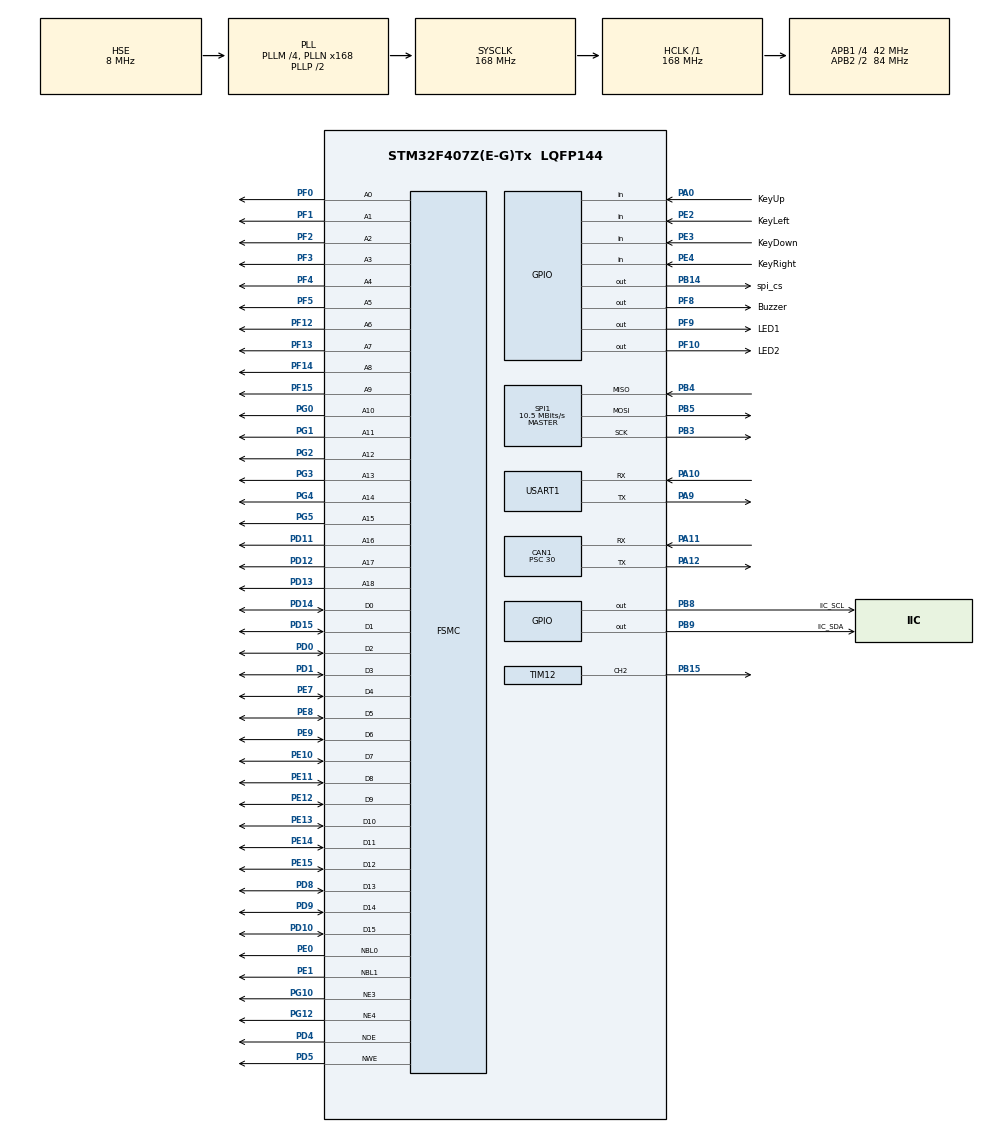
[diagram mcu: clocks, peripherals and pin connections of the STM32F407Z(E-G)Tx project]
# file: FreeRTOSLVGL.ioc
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CAN1.BS1=CAN_BS1_9TQ
CAN1.BS2=CAN_BS2_4TQ
CAN1.CalculateBaudRate=100000
CAN1.CalculateTimeBit=10000
CAN1.CalculateTimeQuantum=714.2857142857143
CAN1.Prescaler=30
CAN1.SJW=CAN_SJW_1TQ
Dma.MEMTOMEM.0.Direction=DMA_MEMORY_TO_MEMORY
Dma.MEMTOMEM.0.FIFOMode=DMA_FIFOMODE_ENABLE
Dma.MEMTOMEM.0.FIFOThreshold=DMA_FIFO_THRESHOLD_FULL
Dma.MEMTOMEM.0.Instance=DMA2_Stream0
Dma.MEMTOMEM.0.MemBurst=DMA_MBURST_INC8
Dma.MEMTOMEM.0.MemDataAlignment=DMA_MDATAALIGN_HALFWORD
Dma.MEMTOMEM.0.MemInc=DMA_MINC_DISABLE
Dma.MEMTOMEM.0.Mode=DMA_NORMAL
Dma.MEMTOMEM.0.PeriphBurst=DMA_PBURST_INC8
Dma.MEMTOMEM.0.PeriphDataAlignment=DMA_PDATAALIGN_HALFWORD
Dma.MEMTOMEM.0.PeriphInc=DMA_PINC_ENABLE
Dma.MEMTOMEM.0.Priority=DMA_PRIORITY_MEDIUM
Dma.Request0=MEMTOMEM
FREERTOS.Tasks01=defaultTask,47,512,StartDefaultTask,Default,NULL,Dynamic,NULL,NULL
FREERTOS.Timers01=IdleTimer,IdleTimerCallback,osTimerPeriodic,Default,NULL,Dynamic,NULL
FREERTOS.configTICK_RATE_HZ=1000
FREERTOS.configUSE_IDLE_HOOK=0
FREERTOS.configUSE_STATS_FORMATTING_FUNCTIONS=1
FREERTOS.configUSE_TICKLESS_IDLE=1
FREERTOS.configUSE_TICK_HOOK=1
FSMC.AccessMode4=FSMC_ACCESS_MODE_A
FSMC.AddressSetupTime3=2
FSMC.AddressSetupTime4=15
FSMC.BusTurnAroundDuration3=0
FSMC.BusTurnAroundDuration4=0
FSMC.DataSetupTime3=8
FSMC.DataSetupTime4=60
FSMC.ExtendedAccessMode4=FSMC_ACCESS_MODE_A
FSMC.ExtendedAddressSetupTime4=9
FSMC.ExtendedBusTurnAroundDuration4=0
FSMC.ExtendedDataSetupTime4=9
FSMC.ExtendedMode4=FSMC_EXTENDED_MODE_ENABLE
FSMC.NSBank4=FSMC_NORSRAM_BANK4
FSMC.WriteOperation3=FSMC_WRITE_OPERATION_ENABLE
FSMC.WriteOperation4=FSMC_WRITE_OPERATION_ENABLE
Mcu.Family=STM32F4
Mcu.Name=STM32F407Z(E-G)Tx
Mcu.Package=LQFP144
NVIC.CAN1_RX0_IRQn=true\:5\:0\:false\:false\:true\:true\:true\:true\:true
NVIC.CAN1_RX1_IRQn=true\:5\:0\:false\:false\:true\:true\:true\:true\:true
NVIC.DMA2_Stream0_IRQn=true\:0\:0\:true\:false\:true\:false\:true\:true\:true
NVIC.PriorityGroup=NVIC_PRIORITYGROUP_4
NVIC.SPI1_IRQn=true\:5\:0\:false\:false\:true\:true\:true\:true\:true
NVIC.TIM6_DAC_IRQn=true\:0\:0\:true\:false\:true\:false\:false\:true\:true
NVIC.TIM7_IRQn=true\:5\:0\:false\:false\:true\:true\:true\:true\:true
NVIC.TimeBase=TIM6_DAC_IRQn
NVIC.TimeBaseIP=TIM6
NVIC.USART1_IRQn=true\:5\:0\:true\:false\:true\:true\:true\:true\:true
PA0-WKUP.GPIO_Label=KeyUp
PA0-WKUP.GPIO_PuPd=GPIO_PULLDOWN
PA0-WKUP.Signal=GPIO_Input
PA10.Mode=Asynchronous
PA10.Signal=USART1_RX
PA11.Mode=CAN_Activate
PA11.Signal=CAN1_RX
PA12.Mode=CAN_Activate
PA12.Signal=CAN1_TX
PA13.Mode=Serial_Wire
PA13.Signal=SYS_JTMS-SWDIO
PA14.Mode=Serial_Wire
PA14.Signal=SYS_JTCK-SWCLK
PA9.Mode=Asynchronous
PA9.Signal=USART1_TX
PB14.GPIO_Label=spi_cs
PB14.Signal=GPIO_Output
PB15.Signal=S_TIM12_CH2
PB3.Mode=Full_Duplex_Master
PB3.Signal=SPI1_SCK
PB4.Mode=Full_Duplex_Master
PB4.Signal=SPI1_MISO
PB5.Mode=Full_Duplex_Master
PB5.Signal=SPI1_MOSI
PB8.GPIO_Label=IIC_SCL
PB8.GPIO_ModeDefaultOutputPP=GPIO_MODE_OUTPUT_PP
PB8.GPIO_PuPd=GPIO_PULLUP
PB8.GPIO_Speed=GPIO_SPEED_FREQ_HIGH
PB8.Signal=GPIO_Output
PB9.GPIO_Label=IIC_SDA
PB9.GPIO_ModeDefaultOutputPP=GPIO_MODE_OUTPUT_OD
PB9.GPIO_PuPd=GPIO_PULLUP
PB9.GPIO_Speed=GPIO_SPEED_FREQ_HIGH
PB9.Signal=GPIO_Output
PD0.Signal=FSMC_D2_DA2
PD1.Signal=FSMC_D3_DA3
PD10.Signal=FSMC_D15_DA15
PD11.Signal=FSMC_A16_CLE
PD12.Signal=FSMC_A17_ALE
PD13.Signal=FSMC_A18
PD14.Signal=FSMC_D0_DA0
PD15.Signal=FSMC_D1_DA1
PD4.Signal=FSMC_NOE
PD5.Signal=FSMC_NWE
PD8.Signal=FSMC_D13_DA13
PD9.Signal=FSMC_D14_DA14
PE0.Signal=FSMC_NBL0
PE1.Signal=FSMC_NBL1
PE10.Signal=FSMC_D7_DA7
PE11.Signal=FSMC_D8_DA8
PE12.Signal=FSMC_D9_DA9
PE13.Signal=FSMC_D10_DA10
PE14.Signal=FSMC_D11_DA11
PE15.Signal=FSMC_D12_DA12
PE2.GPIO_Label=KeyLeft
PE2.GPIO_PuPd=GPIO_PULLUP
PE2.Signal=GPIO_Input
PE3.GPIO_Label=KeyDown
PE3.GPIO_PuPd=GPIO_PULLUP
PE3.Signal=GPIO_Input
PE4.GPIO_Label=KeyRight
PE4.GPIO_PuPd=GPIO_PULLUP
PE4.Signal=GPIO_Input
PE7.Signal=FSMC_D4_DA4
PE8.Signal=FSMC_D5_DA5
PE9.Signal=FSMC_D6_DA6
PF0.Signal=FSMC_A0
PF1.Signal=FSMC_A1
PF10.GPIO_Label=LED2
PF10.GPIO_PuPd=GPIO_PULLDOWN
PF10.PinState=GPIO_PIN_SET
PF10.Signal=GPIO_Output
PF12.Signal=FSMC_A6
PF13.Signal=FSMC_A7
PF14.Signal=FSMC_A8
PF15.Signal=FSMC_A9
PF2.Signal=FSMC_A2
PF3.Signal=FSMC_A3
PF4.Signal=FSMC_A4
PF5.Signal=FSMC_A5
PF8.GPIO_Label=Buzzer
PF8.GPIO_ModeDefaultOutputPP=GPIO_MODE_OUTPUT_PP
PF8.GPIO_PuPd=GPIO_PULLUP
PF8.GPIO_Speed=GPIO_SPEED_FREQ_HIGH
PF8.Signal=GPIO_Output
PF9.GPIO_Label=LED1
PF9.GPIO_PuPd=GPIO_PULLDOWN
PF9.PinState=GPIO_PIN_SET
PF9.Signal=GPIO_Output
PG0.Signal=FSMC_A10
PG1.Signal=FSMC_A11
PG10.Mode=NorPsramChipSelect3_3
PG10.Signal=FSMC_NE3
PG12.Mode=NorPsramChipSelect4_4
PG12.Signal=FSMC_NE4
PG2.Signal=FSMC_A12
PG3.Signal=FSMC_A13
PG4.Signal=FSMC_A14
PG5.Signal=FSMC_A15
PH0-OSC_IN.Mode=HSE-External-Oscillator
PH0-OSC_IN.Signal=RCC_OSC_IN
PH1-OSC_OUT.Mode=HSE-External-Oscillator
PH1-OSC_OUT.Signal=RCC_OSC_OUT
ProjectManager.HeapSize=0x400
ProjectManager.StackSize=0x800
ProjectManager.TargetToolchain=MDK-ARM V5.32
RCC.48MHZClocksFreq_Value=84000000
RCC.AHBFreq_Value=168000000
RCC.APB1CLKDivider=RCC_HCLK_DIV4
RCC.APB1Freq_Value=42000000
RCC.APB1TimFreq_Value=84000000
RCC.APB2CLKDivider=RCC_HCLK_DIV2
RCC.APB2Freq_Value=84000000
RCC.APB2TimFreq_Value=168000000
RCC.CortexFreq_Value=168000000
RCC.FLatency=FLASH_LATENCY_5
RCC.HCLKFreq_Value=168000000
RCC.HSE_VALUE=8000000
RCC.HSI_VALUE=16000000
RCC.LSE_VALUE=32768
RCC.PLLM=4
RCC.PLLN=168
RCC.PLLSourceVirtual=RCC_PLLSOURCE_HSE
RCC.SYSCLKFreq_VALUE=168000000
RCC.SYSCLKSource=RCC_SYSCLKSOURCE_PLLCLK
RCC.VCOOutputFreq_Value=336000000
SH.FSMC_A0.0=FSMC_A0,19b-a3
SH.FSMC_A1.0=FSMC_A1,19b-a3
SH.FSMC_A10.0=FSMC_A10,19b-a3
SH.FSMC_A11.0=FSMC_A11,19b-a3
SH.FSMC_A12.0=FSMC_A12,19b-a3
SH.FSMC_A13.0=FSMC_A13,19b-a3
SH.FSMC_A14.0=FSMC_A14,19b-a3
SH.FSMC_A15.0=FSMC_A15,19b-a3
SH.FSMC_A16_CLE.0=FSMC_A16,19b-a3
SH.FSMC_A17_ALE.0=FSMC_A17,19b-a3
SH.FSMC_A18.0=FSMC_A18,19b-a3
SH.FSMC_A2.0=FSMC_A2,19b-a3
SH.FSMC_A3.0=FSMC_A3,19b-a3
SH.FSMC_A4.0=FSMC_A4,19b-a3
SH.FSMC_A5.0=FSMC_A5,19b-a3
SH.FSMC_A6.0=FSMC_A6,A6_4
SH.FSMC_A6.1=FSMC_A6,19b-a3
SH.FSMC_A7.0=FSMC_A7,19b-a3
SH.FSMC_A8.0=FSMC_A8,19b-a3
SH.FSMC_A9.0=FSMC_A9,19b-a3
SH.FSMC_D0_DA0.0=FSMC_D0,16b-d4
SH.FSMC_D0_DA0.1=FSMC_D0,16b-d3
SH.FSMC_D10_DA10.0=FSMC_D10,16b-d4
SH.FSMC_D10_DA10.1=FSMC_D10,16b-d3
SH.FSMC_D11_DA11.0=FSMC_D11,16b-d4
SH.FSMC_D11_DA11.1=FSMC_D11,16b-d3
SH.FSMC_D12_DA12.0=FSMC_D12,16b-d4
SH.FSMC_D12_DA12.1=FSMC_D12,16b-d3
SH.FSMC_D13_DA13.0=FSMC_D13,16b-d4
SH.FSMC_D13_DA13.1=FSMC_D13,16b-d3
SH.FSMC_D14_DA14.0=FSMC_D14,16b-d4
SH.FSMC_D14_DA14.1=FSMC_D14,16b-d3
SH.FSMC_D15_DA15.0=FSMC_D15,16b-d4
SH.FSMC_D15_DA15.1=FSMC_D15,16b-d3
SH.FSMC_D1_DA1.0=FSMC_D1,16b-d4
SH.FSMC_D1_DA1.1=FSMC_D1,16b-d3
SH.FSMC_D2_DA2.0=FSMC_D2,16b-d4
SH.FSMC_D2_DA2.1=FSMC_D2,16b-d3
SH.FSMC_D3_DA3.0=FSMC_D3,16b-d4
SH.FSMC_D3_DA3.1=FSMC_D3,16b-d3
SH.FSMC_D4_DA4.0=FSMC_D4,16b-d4
SH.FSMC_D4_DA4.1=FSMC_D4,16b-d3
SH.FSMC_D5_DA5.0=FSMC_D5,16b-d4
SH.FSMC_D5_DA5.1=FSMC_D5,16b-d3
SH.FSMC_D6_DA6.0=FSMC_D6,16b-d4
SH.FSMC_D6_DA6.1=FSMC_D6,16b-d3
SH.FSMC_D7_DA7.0=FSMC_D7,16b-d4
SH.FSMC_D7_DA7.1=FSMC_D7,16b-d3
SH.FSMC_D8_DA8.0=FSMC_D8,16b-d4
SH.FSMC_D8_DA8.1=FSMC_D8,16b-d3
SH.FSMC_D9_DA9.0=FSMC_D9,16b-d4
SH.FSMC_D9_DA9.1=FSMC_D9,16b-d3
SH.FSMC_NBL0.0=FSMC_NBL0,2ByteEnable3
SH.FSMC_NBL1.0=FSMC_NBL1,2ByteEnable3
SH.FSMC_NOE.0=FSMC_NOE,Lcd4
SH.FSMC_NOE.1=FSMC_NOE,Sram3
SH.FSMC_NWE.0=FSMC_NWE,Lcd4
SH.FSMC_NWE.1=FSMC_NWE,Sram3
SH.S_TIM12_CH2.0=TIM12_CH2,PWM Generation2 CH2
SPI1.BaudRatePrescaler=SPI_BAUDRATEPRESCALER_8
SPI1.CLKPhase=SPI_PHASE_2EDGE
SPI1.CLKPolarity=SPI_POLARITY_HIGH
SPI1.CalculateBaudRate=10.5 MBits/s
SPI1.Direction=SPI_DIRECTION_2LINES
SPI1.Mode=SPI_MODE_MASTER
SPI1.VirtualType=VM_MASTER
TIM12.Channel-PWM\ Generation2\ CH2=TIM_CHANNEL_2
TIM12.Period=1000-1
TIM12.Prescaler=84-1
TIM12.Pulse-PWM\ Generation2\ CH2=0
TIM7.Period=1-1
TIM7.Prescaler=84-1
USART1.VirtualMode=VM_ASYNC
VP_FATFS_VS_Generic.Mode=User_defined
VP_FREERTOS_VS_CMSIS_V2.Mode=CMSIS_V2
VP_SYS_VS_tim6.Mode=TIM6
VP_TIM12_VS_ClockSourceINT.Mode=Internal
VP_TIM7_VS_ClockSourceINT.Mode=Enable_Timer
board=custom

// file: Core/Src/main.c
/* USER CODE BEGIN Header */
/**
 ******************************************************************************
 * @file           : main.c
 * @brief          : Main program body
 ******************************************************************************
 * @attention
 *
 * Copyright (c) 2025 STMicroelectronics.
 * All rights reserved.
 *
 * This software is licensed under terms that can be found in the LICENSE file
 * in the root directory of this software component.
 * If no LICENSE file comes with this software, it is provided AS-IS.
 *
 ******************************************************************************
 */
/* USER CODE END Header */
#include "main.h"
#include "cmsis_os.h"
#include "can.h"
#include "dma.h"
#include "fatfs.h"
#include "spi.h"
#include "tim.h"
#include "usart.h"
#include "gpio.h"
#include "fsmc.h"

/* USER CODE BEGIN Includes */
#include "lcd.h"
#include "keyled.h"
#include "test_iap_flash.h"
/* USER CODE END Includes */

void SystemClock_Config(void);
void MX_FREERTOS_Init(void);

int main(void)
{

  /* MCU Configuration--------------------------------------------------------*/

  /* Reset of all peripherals, Initializes the Flash interface and the Systick. */
  HAL_Init();

  /* Configure the system clock */
  SystemClock_Config();

  /* Initialize all configured peripherals */
  MX_GPIO_Init();
  MX_DMA_Init();
  MX_FSMC_Init();
  MX_TIM7_Init();
  MX_USART1_UART_Init();
  MX_TIM12_Init();
  MX_CAN1_Init();
  MX_SPI1_Init();
  MX_FATFS_Init();
  /* USER CODE BEGIN 2 */

  //  lcd_show_string(30, 50, 200, 16, 16, "STM32", RED);
  //  lcd_show_str(35, 10, 16, "Touch_Test", RED);
  //  lcd_show_str(10, 10 + 20 * 1, 16, "Happy for every", BLACK);
  //  lcd_show_str(10, 10 + 20 * 2, 16, " Thanks", BLACK);
  /* USER CODE END 2 */

  /* Init scheduler */
  osKernelInitialize();  /* Call init function for freertos objects (in cmsis_os2.c) */
  MX_FREERTOS_Init();

  /* Start scheduler */
  osKernelStart();

  /* We should never get here as control is now taken by the scheduler */

  /* Infinite loop */
  while (1)
  {

  }
}

void SystemClock_Config(void)
{
  RCC_OscInitTypeDef RCC_OscInitStruct = {0};
  RCC_ClkInitTypeDef RCC_ClkInitStruct = {0};

  /** Configure the main internal regulator output voltage
  */
  __HAL_RCC_PWR_CLK_ENABLE();
  __HAL_PWR_VOLTAGESCALING_CONFIG(PWR_REGULATOR_VOLTAGE_SCALE1);

  /** Initializes the RCC Oscillators according to the specified parameters
  * in the RCC_OscInitTypeDef structure.
  */
  RCC_OscInitStruct.OscillatorType = RCC_OSCILLATORTYPE_HSE;
  RCC_OscInitStruct.HSEState = RCC_HSE_ON;
  RCC_OscInitStruct.PLL.PLLState = RCC_PLL_ON;
  RCC_OscInitStruct.PLL.PLLSource = RCC_PLLSOURCE_HSE;
  RCC_OscInitStruct.PLL.PLLM = 4;
  RCC_OscInitStruct.PLL.PLLN = 168;
  RCC_OscInitStruct.PLL.PLLP = RCC_PLLP_DIV2;
  RCC_OscInitStruct.PLL.PLLQ = 4;
  if (HAL_RCC_OscConfig(&RCC_OscInitStruct) != HAL_OK)
  {
    Error_Handler();
  }

  /** Initializes the CPU, AHB and APB buses clocks
  */
  RCC_ClkInitStruct.ClockType = RCC_CLOCKTYPE_HCLK|RCC_CLOCKTYPE_SYSCLK
                              |RCC_CLOCKTYPE_PCLK1|RCC_CLOCKTYPE_PCLK2;
  RCC_ClkInitStruct.SYSCLKSource = RCC_SYSCLKSOURCE_PLLCLK;
  RCC_ClkInitStruct.AHBCLKDivider = RCC_SYSCLK_DIV1;
  RCC_ClkInitStruct.APB1CLKDivider = RCC_HCLK_DIV4;
  RCC_ClkInitStruct.APB2CLKDivider = RCC_HCLK_DIV2;

  if (HAL_RCC_ClockConfig(&RCC_ClkInitStruct, FLASH_LATENCY_5) != HAL_OK)
  {
    Error_Handler();
  }
}

void HAL_TIM_PeriodElapsedCallback(TIM_HandleTypeDef *htim)
{
  if (htim->Instance == TIM6)
  {
    HAL_IncTick();
  }
  /* USER CODE BEGIN Callback 1 */
  if (htim->Instance == TIM7)
  {
  }
  /* USER CODE END Callback 1 */
}

void Error_Handler(void)
{
  __disable_irq();
  while (1)
  {
  }
}

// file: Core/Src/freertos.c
/* USER CODE BEGIN Header */
/**
 ******************************************************************************
 * File Name          : freertos.c
 * Description        : Code for freertos applications
 ******************************************************************************
 * @attention
 *
 * Copyright (c) 2025 STMicroelectronics.
 * All rights reserved.
 *
 * This software is licensed under terms that can be found in the LICENSE file
 * in the root directory of this software component.
 * If no LICENSE file comes with this software, it is provided AS-IS.
 *
 ******************************************************************************
 */
/* USER CODE END Header */

#include "FreeRTOS.h"
#include "task.h"
#include "main.h"
#include "cmsis_os.h"

/* USER CODE BEGIN Includes */
#include "can.h"
#include "CAN_handle.h"

#include "keyled.h"
#include "lcd.h"
#include "string.h"
#include "My_Touch.h"
#include "My_TaskCreate.h"

#include "touch.h"
#include "lvgl.h"
#include "lv_port_disp.h"
#include "lv_port_indev.h"
#include "gui_guider.h"
#include "events_init.h"
#include "timers.h"
#include "event_groups.h"
#include "lv_demo_stress.h"
#include "lv_port_disp.h"
/* USER CODE END Includes */

/* Definitions for defaultTask */
osThreadId_t defaultTaskHandle;
const osThreadAttr_t defaultTask_attributes = {
  .name = "defaultTask",
  .stack_size = 512 * 4,
  .priority = (osPriority_t) osPriorityHigh7,
};
/* Definitions for IdleTimer */
osTimerId_t IdleTimerHandle;
const osTimerAttr_t IdleTimer_attributes = {
  .name = "IdleTimer"
};

void StartDefaultTask(void *argument);
void IdleTimerCallback(void *argument);

void MX_FREERTOS_Init(void); /* (MISRA C 2004 rule 8.1) */

/* Hook prototypes */
void vApplicationTickHook(void);

/* USER CODE BEGIN 3 */
void vApplicationTickHook(void)
{
  /* This function will be called by each tick interrupt if
  configUSE_TICK_HOOK is set to 1 in FreeRTOSConfig.h. User code can be
  added here, but the tick hook is called from an interrupt context, so
  code must not attempt to block, and only the interrupt safe FreeRTOS API
  functions can be used (those that end in FromISR()). */
  // 告诉LVGL已经过去1ms
  lv_tick_inc(1);
}
/* USER CODE END 3 */

/* USER CODE BEGIN PREPOSTSLEEP */
__weak void PreSleepProcessing(uint32_t ulExpectedIdleTime)
{
  /* place for user code */
  HAL_SuspendTick();

  __HAL_RCC_GPIOA_CLK_DISABLE();
  __HAL_RCC_GPIOB_CLK_DISABLE();

  __HAL_RCC_GPIOC_CLK_DISABLE();
  __HAL_RCC_GPIOD_CLK_DISABLE();
  __HAL_RCC_GPIOE_CLK_DISABLE();
  __HAL_RCC_GPIOF_CLK_DISABLE();
  __HAL_RCC_GPIOG_CLK_DISABLE();
}

__weak void PostSleepProcessing(uint32_t ulExpectedIdleTime)
{
  /* place for user code */
  HAL_ResumeTick();
  __HAL_RCC_GPIOA_CLK_ENABLE();
  __HAL_RCC_GPIOB_CLK_ENABLE();
  __HAL_RCC_GPIOC_CLK_ENABLE();
  __HAL_RCC_GPIOD_CLK_ENABLE();
  __HAL_RCC_GPIOE_CLK_ENABLE();
  __HAL_RCC_GPIOF_CLK_ENABLE();
  __HAL_RCC_GPIOG_CLK_ENABLE();
}
/* USER CODE END PREPOSTSLEEP */

void MX_FREERTOS_Init(void) {
  /* USER CODE BEGIN Init */
  HAL_DMA_RegisterCallback(&hdma_memtomem_dma2_stream0, HAL_DMA_XFER_CPLT_CB_ID, LVGL_LCD_FSMC_DMA_pCallback);
  /* USER CODE END Init */

  /* Create the timer(s) */
  /* creation of IdleTimer */
  IdleTimerHandle = osTimerNew(IdleTimerCallback, osTimerPeriodic, NULL, &IdleTimer_attributes);

  /* Create the thread(s) */
  /* creation of defaultTask */
  defaultTaskHandle = osThreadNew(StartDefaultTask, NULL, &defaultTask_attributes);

  /* USER CODE BEGIN RTOS_THREADS */
  /* add threads, ... */
  User_Tasks_Init();
  /* USER CODE END RTOS_THREADS */

}

/* USER CODE BEGIN Header_StartDefaultTask */
/**
 * @brief  Function implementing the defaultTask thread.
 * @param  argument: Not used
 * @retval None
 */
lv_ui guider_ui;

extern EventGroupHandle_t StopIdle_eventhandle;
/* USER CODE END Header_StartDefaultTask */
void StartDefaultTask(void *argument)
{
  /* USER CODE BEGIN StartDefaultTask */
  /* Infinite loop */

  for (;;)
  {
    HAL_Delay(100);
    CAN_Filter_Init(CAN_Hal_RxData_RecvCallback);
    CAN_Hal_RxTask_Init();

    lcd_init();
    tp_dev.init();         // 初始化触摸屏
    //tp_adjust();           // 校准触摸屏
   // tp_save_adjust_data(); // 保存校准数据
    lcd_clear(WHITE);      // 清除屏幕

    lv_init();                // lvgl初始化
    lv_port_disp_init();      // lvgl显示接口初始化,放在lv_init()的后面
    lv_port_indev_init();     // lvgl输入接口初始化,放在lv_init()的后面
    lv_demo_keypad_encoder(); // lvgl示例程序

    // setup_ui(&guider_ui);
    // events_init(&guider_ui);
    // lv_demo_stress();
    // MX_IWDG_Init();//启动看门狗
    //  vTaskDelay(pdMS_TO_TICKS(100));
    HAL_Delay(100);
    vTaskDelete(NULL); // 删除当前任务
  }
  /* USER CODE END StartDefaultTask */
}

/* IdleTimerCallback function */
void IdleTimerCallback(void *argument)
{
  /* USER CODE BEGIN IdleTimerCallback */
  g_ScanTimeset.IdleTimerCount += 1; // 低功耗的一个重要变量
                                     // 添加事件组有效性检查

  BaseType_t xHigherPriorityTaskWoken = pdFALSE;
  if (g_ScanTimeset.IdleTimerCount == (g_ScanTimeset.shortTime_value * 10)) // 达到息屏时间，准备将屏幕变暗
  {
    // send the Light off message
    xEventGroupSetBitsFromISR(StopIdle_eventhandle, Idle_bit, &xHigherPriorityTaskWoken);
  }
  if (g_ScanTimeset.IdleTimerCount == (g_ScanTimeset.longTime_value * 10)) // 达到休眠时间，准备进入STOP
  {
    // send the Light off message
    g_ScanTimeset.IdleTimerCount = 0;
    xEventGroupSetBitsFromISR(StopIdle_eventhandle, Stop_bit, &xHigherPriorityTaskWoken);
  }
  portYIELD_FROM_ISR(xHigherPriorityTaskWoken);
  /* USER CODE END IdleTimerCallback */
}
